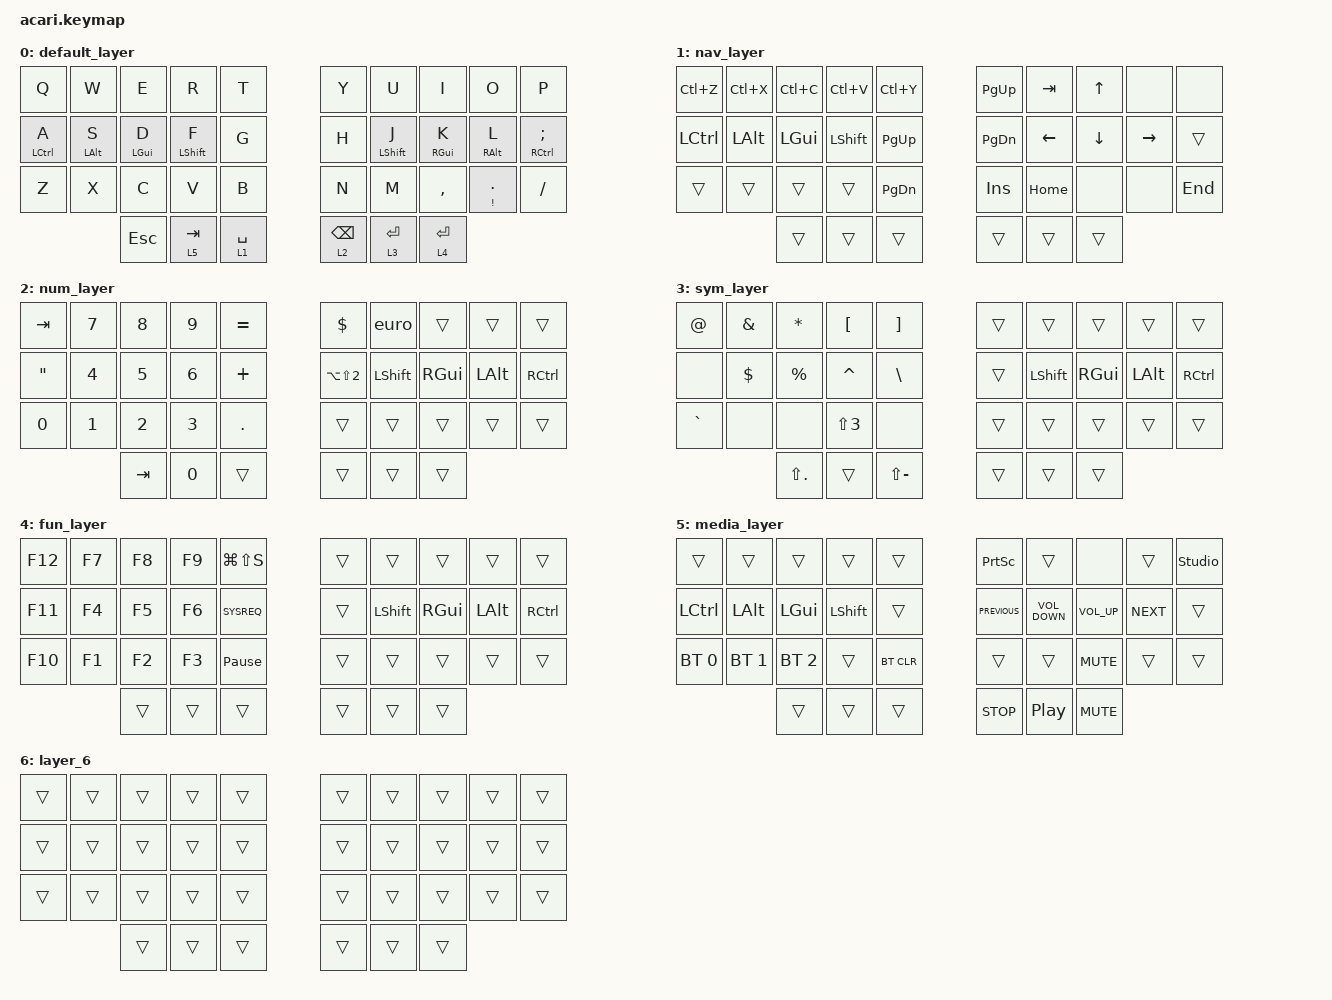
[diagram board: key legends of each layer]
#include <behaviors.dtsi>
#include <dt-bindings/zmk/bt.h>
#include <dt-bindings/zmk/keys.h>

#define BASE 0
#define NAV  1
#define NUM  2
#define FUN  3
#define SYM  4
#define MEDIA  5
#define BLU 6

/*                KEY POSITIONS

          ╭────────────────────╮ ╭────────────────────╮
          │  0   1   2   3   4 │ │  5   6   7   8   9 │
          │ 10  11  12  13  14 │ │ 15  16  17  18  19 │
          │ 20  21  22  23  24 │ │ 25  26  27  28  29 │
          ╰───────╮ 30  31  32 │ │ 33  34  35 ╭───────╯
                  ╰────────────╯ ╰────────────╯        */

&mt {
    quick-tap-ms = <100>;
    global-quick-tap;
    flavor = "tap-preferred";
    tapping-term-ms = <200>;
};

/ {
    combos {
        compatible = "zmk,combos";

        leftParet {
            bindings = <&kp LEFT_PARENTHESIS>;
            key-positions = <6 7>;
            layers = <0>;
        };

        rightParet {
            bindings = <&kp RIGHT_PARENTHESIS>;
            key-positions = <7 8>;
            layers = <0>;
        };

        minusCombo {
            bindings = <&kp MINUS>;
            key-positions = <32 33>;
            layers = <0>;
        };

        capslock {
            bindings = <&caps_word>;
            key-positions = <4 5>;
            layers = <0>;
        };

        printscreen {
            bindings = <&kp LG(LS(N5))>;
            key-positions = <1 2 3>;
            layers = <0>;
            timeout-ms = <40>;
        };

        apost {
            bindings = <&kp APOSTROPHE>;
            key-positions = <14 15>;
        };
    };

    behaviors {
        rht: repeatHoldTap {
            compatible = "zmk,behavior-hold-tap";
            label = "REPEATHOLDTAP";
            bindings = <&mo>, <&kp>;

            #binding-cells = <2>;
            flavor = "tap-preferred";
            tapping-term-ms = <120>;
            quick-tap-ms = <200>;
        };

        lh_pht: left_positional_hold_tap {
            compatible = "zmk,behavior-hold-tap";
            #binding-cells = <2>;
            flavor = "tap-unless-interrupted";
            tapping-term-ms = <120>;                        // <---[[produces tap if held longer than tapping-term-ms]]
            quick-tap-ms = <200>;
            bindings = <&kp>, <&kp>;

            hold-trigger-key-positions = <5 6 7 8 9 15 16 17 18 19 25 26 27 28 29>;// <---[[right-hand keys]]
            hold-while-undecided;
        };

        rh_pht: r_positional_hold_tap {
            compatible = "zmk,behavior-hold-tap";
            #binding-cells = <2>;
            flavor = "tap-unless-interrupted";
            tapping-term-ms = <120>;                        // <---[[produces tap if held longer than tapping-term-ms]]
            quick-tap-ms = <200>;
            bindings = <&kp>, <&kp>;

            hold-trigger-key-positions = <0 1 2 3 4 10 11 12 13 14 20 21 22 23 24>;// <---[[right-hand keys]]
            hold-while-undecided;
        };

        bhm: balanced_homerow_mods {
            compatible = "zmk,behavior-hold-tap";
            #binding-cells = <2>;
            tapping-term-ms = <120>;    // <---[[moderate duration]]
            quick-tap-ms = <0>;
            flavor = "balanced";
            bindings = <&kp>, <&kp>;
        };

        td: tapdance {
            compatible = "zmk,behavior-hold-tap";
            label = "TAPDANCE";
            #binding-cells = <2>;
            tapping-term-ms = <150>;
            quick_tap_ms = <0>;
            flavor = "tap-preferred";
            bindings = <&kp>, <&kp>;
        };

        shift: shift {
            compatible = "zmk,behavior-hold-tap";
            label = "SHIFT";
            bindings = <&kp>, <&kp>;

            #binding-cells = <2>;
            flavor = "tap-preferred";
            tapping-term-ms = <120>;
            quick-tap-ms = <200>;
        };
    };

    macros {
        euro: euro {
            compatible = "zmk,behavior-macro";
            #binding-cells = <0>;
            bindings = <&kp LA(NUMBER_0) &kp LA(NUMBER_1) &kp LA(NUMBER_2) &kp LA(N8)>;
            label = "EURO";
        };
    };

    keymap {
        compatible = "zmk,keymap";

        default_layer {
            bindings = <
&kp Q               &kp W       &kp E       &kp R              &kp T         &kp Y        &kp U              &kp I       &kp O                &kp P
&mt LEFT_CONTROL A  &mt LALT S  &mt LGUI D  &bhm LEFT_SHIFT F  &kp G         &kp H        &bhm LEFT_SHIFT J  &mt RGUI K  &mt RALT L           &mt RIGHT_CONTROL SEMICOLON
&kp Z               &kp X       &kp C       &kp V              &kp B         &kp N        &kp M              &kp COMMA   &td EXCLAMATION DOT  &kp SLASH
                                &kp ESC     &lt 5 TAB          &rht 1 SPACE  &rht 2 BSPC  &lt 3 ENTER        &lt 4 RET
            >;
        };

        nav_layer {
            bindings = <
&kp LC(Z)         &kp LC(X)  &kp LC(C)     &kp LC(V)  &kp LC(Y)      &kp PG_UP      &kp TAB         &kp UP_ARROW    &none      &none
&kp LEFT_CONTROL  &kp LALT   &kp LEFT_GUI  &kp LSHFT  &kp PAGE_UP    &kp PAGE_DOWN  &kp LEFT_ARROW  &kp DOWN_ARROW  &kp RIGHT  &trans
&trans            &trans     &trans        &trans     &kp PAGE_DOWN  &kp INSERT     &kp HOME        &none           &none      &kp END
                             &trans        &trans     &trans         &trans         &trans          &trans
            >;
        };

        num_layer {
            bindings = <
&kp TAB            &kp N7  &kp N8   &kp N9  &kp EQUAL  &kp DOLLAR            &euro      &trans         &trans    &trans
&kp DOUBLE_QUOTES  &kp N4  &kp N5   &kp N6  &kp PLUS   &kp LA(LS(NUMBER_2))  &kp LSHFT  &kp RIGHT_GUI  &kp LALT  &kp RIGHT_CONTROL
&kp N0             &kp N1  &kp N2   &kp N3  &kp DOT    &trans                &trans     &trans         &trans    &trans
                           &kp TAB  &kp N0  &trans     &trans                &trans     &trans
            >;
        };

        sym_layer {
            bindings = <
&kp AT     &kp AMPS    &kp ASTRK       &kp LEFT_BRACKET  &kp RIGHT_BRACKET  &trans  &trans     &trans    &trans    &trans
&none      &kp DOLLAR  &kp PERCENT     &kp CARET         &kp BACKSLASH      &trans  &kp LSHFT  &kp RGUI  &kp LALT  &kp RIGHT_CONTROL
&kp GRAVE  &none       &none           &kp LS(N3)        &none              &trans  &trans     &trans    &trans    &trans
                       &kp LS(PERIOD)  &trans            &kp LS(MINUS)      &trans  &trans     &trans
            >;
        };

        fun_layer {
            bindings = <
&kp F12  &kp F7  &kp F8  &kp F9  &kp LG(LS(S))    &trans  &trans     &trans         &trans    &trans
&kp F11  &kp F4  &kp F5  &kp F6  &kp SYSREQ       &trans  &kp LSHFT  &kp RIGHT_GUI  &kp LALT  &kp RIGHT_CONTROL
&kp F10  &kp F1  &kp F2  &kp F3  &kp PAUSE_BREAK  &trans  &trans     &trans         &trans    &trans
                 &trans  &trans  &trans           &trans  &trans     &trans
            >;
        };

        media_layer {
            bindings = <
&trans            &trans        &trans        &trans     &trans      &kp PRINTSCREEN  &trans             &none            &trans      &studio_unlock
&kp LEFT_CONTROL  &kp LALT      &kp LEFT_GUI  &kp LSHFT  &trans      &kp C_PREVIOUS   &kp C_VOLUME_DOWN  &kp C_VOLUME_UP  &kp C_NEXT  &trans
&bt BT_SEL 0      &bt BT_SEL 1  &bt BT_SEL 2  &trans     &bt BT_CLR  &trans           &trans             &kp C_MUTE       &trans      &trans
                                &trans        &trans     &trans      &kp C_STOP       &kp C_PLAY_PAUSE   &kp K_MUTE
            >;
        };

        layer_6 {
            bindings = <
&trans  &trans  &trans  &trans  &trans  &trans  &trans  &trans  &trans  &trans
&trans  &trans  &trans  &trans  &trans  &trans  &trans  &trans  &trans  &trans
&trans  &trans  &trans  &trans  &trans  &trans  &trans  &trans  &trans  &trans
                &trans  &trans  &trans  &trans  &trans  &trans
            >;
        };
    };
};
